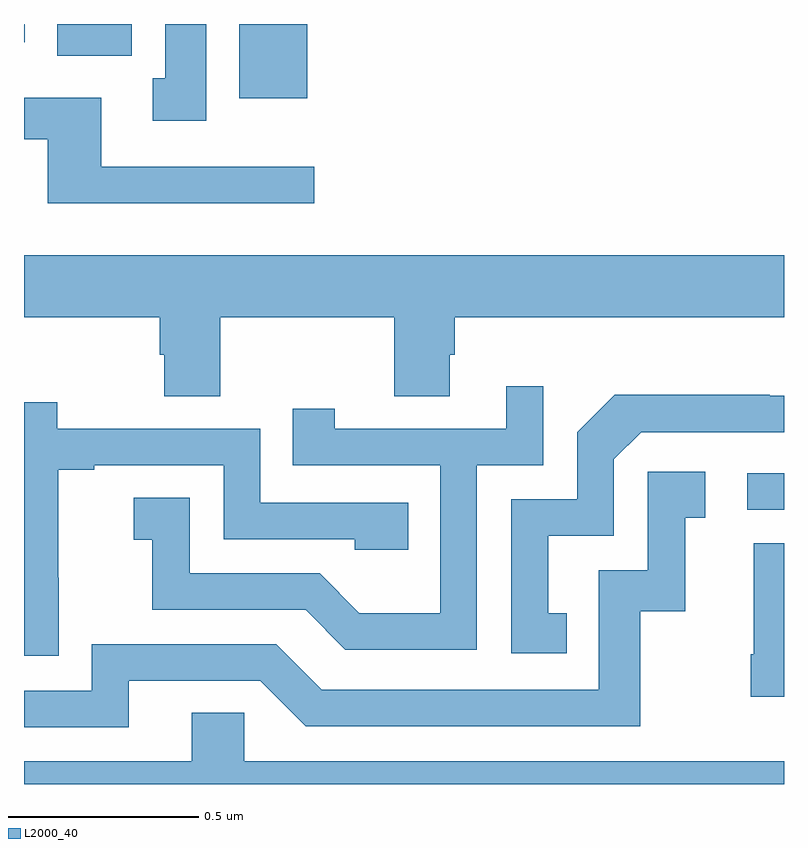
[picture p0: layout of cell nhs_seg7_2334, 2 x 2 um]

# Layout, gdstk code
import gdstk
lib = gdstk.Library(unit=1e-6, precision=1e-09)
def R(c, l, rs):  # rectangles x0, y0, x1, y1
    for r in rs: c.add(gdstk.rectangle(r[:2], r[2:], *l))
def P(c, l, *ps):  # polygons
    for p in ps: c.add(gdstk.Polygon(p, *l))
L2000_40 = (2000, 40)

nhs_seg7_2334 = lib.new_cell('nhs_seg7_2334')
R(nhs_seg7_2334, L2000_40, [(144.903,1054.722,145,1054.818), (143.567,1055.804,143.746,1056), (143.087,1055.916,143.283,1056), (143,1055.952,143.002,1056)])
P(nhs_seg7_2334, L2000_40, [(143.479,1056),(143.372,1056),(143.372,1055.857),(143.339,1055.857),(143.339,1055.745),(143.479,1055.745)],
  [(143.764,1055.625),(143.203,1055.625),(143.203,1055.806),(143,1055.806),(143,1055.697),(143.063,1055.697),(143.063,1055.528),(143.764,1055.528)],
  [(143.517,1055.228),(143.974,1055.228),(143.974,1055.02),(144.121,1055.02),(144.121,1055.13),(144.134,1055.13),(144.134,1055.228),(145,1055.228),(145,1055.392),(143,1055.392),(143,1055.228),(143.357,1055.228),(143.357,1055.13),(143.369,1055.13),(143.369,1055.02),(143.517,1055.02)],
  [(144.192,1054.839),(144.366,1054.839),(144.366,1055.047),(144.269,1055.047),(144.269,1054.935),(143.818,1054.935),(143.818,1054.987),(143.707,1054.987),(143.707,1054.839),(144.096,1054.839),(144.096,1054.45),(143.882,1054.45),(143.778,1054.554),(143.436,1054.554),(143.436,1054.753),(143.289,1054.753),(143.289,1054.643),(143.338,1054.643),(143.338,1054.458),(143.741,1054.458),(143.846,1054.353),(144.192,1054.353)],
  [(144.428,1054.449),(144.379,1054.449),(144.379,1054.653),(144.552,1054.653),(144.552,1054.854),(144.624,1054.926),(145,1054.926),(145,1055.022),(144.962,1055.022),(144.962,1055.024),(144.554,1055.024),(144.456,1054.926),(144.456,1054.749),(144.282,1054.749),(144.282,1054.344),(144.428,1054.344)],
  [(143.091,1054.543),(143.09,1054.543),(143.09,1054.827),(143.185,1054.827),(143.185,1054.839),(143.526,1054.839),(143.526,1054.644),(143.871,1054.644),(143.871,1054.617),(144.011,1054.617),(144.011,1054.74),(143.622,1054.74),(143.622,1054.935),(143.088,1054.935),(143.088,1055.004),(143,1055.004),(143,1054.337),(143.091,1054.337)],
  [(143.275,1054.272),(143.622,1054.272),(143.742,1054.152),(144.622,1054.152),(144.622,1054.455),(144.74,1054.455),(144.74,1054.701),(144.793,1054.701),(144.793,1054.822),(144.642,1054.822),(144.642,1054.563),(144.513,1054.563),(144.513,1054.248),(143.784,1054.248),(143.664,1054.368),(143.178,1054.368),(143.178,1054.245),(143,1054.245),(143,1054.149),(143.275,1054.149)],
  [(145,1054.633),(144.92,1054.633),(144.92,1054.342),(144.913,1054.342),(144.913,1054.23),(145,1054.23)],
  [(143.441,1054.06),(143,1054.06),(143,1054),(145,1054),(145,1054.06),(143.58,1054.06),(143.58,1054.187),(143.441,1054.187)])

lib.write_gds('nhs_seg7_2334.gds')
